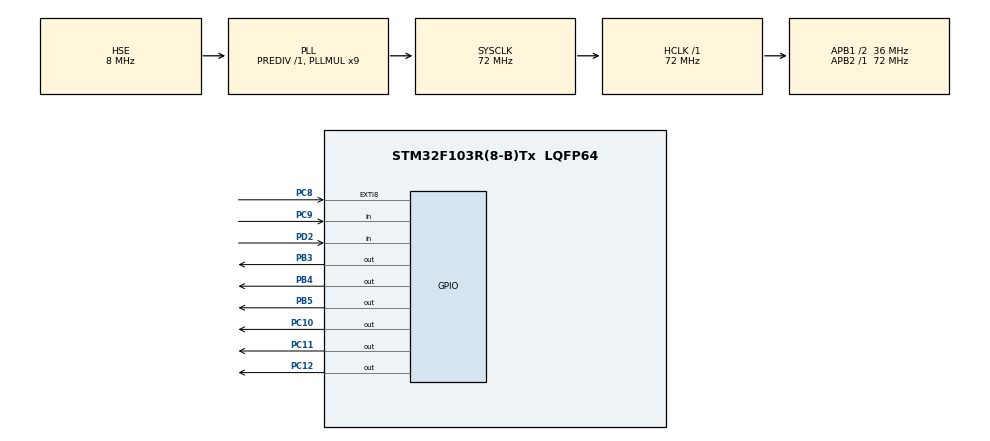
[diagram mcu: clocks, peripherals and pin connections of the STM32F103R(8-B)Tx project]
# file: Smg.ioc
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Mcu.Family=STM32F1
Mcu.Name=STM32F103R(8-B)Tx
Mcu.Package=LQFP64
NVIC.EXTI9_5_IRQn=true\:0\:0\:false\:false\:true\:true\:true\:true
NVIC.PriorityGroup=NVIC_PRIORITYGROUP_4
NVIC.TIM1_BRK_IRQn=true\:0\:0\:false\:false\:true\:true\:true\:true
NVIC.TIM1_CC_IRQn=true\:0\:0\:false\:false\:true\:true\:true\:true
NVIC.TIM1_TRG_COM_IRQn=true\:0\:0\:false\:false\:true\:true\:true\:true
NVIC.TIM1_UP_IRQn=true\:0\:0\:false\:false\:true\:true\:true\:true
NVIC.TIM2_IRQn=true\:0\:0\:false\:false\:true\:true\:true\:true
PA13.Mode=Serial_Wire
PA13.Signal=SYS_JTMS-SWDIO
PA14.Mode=Serial_Wire
PA14.Signal=SYS_JTCK-SWCLK
PB3.Signal=GPIO_Output
PB4.Signal=GPIO_Output
PB5.Signal=GPIO_Output
PC10.Signal=GPIO_Output
PC11.Signal=GPIO_Output
PC12.Signal=GPIO_Output
PC8.GPIO_ModeDefaultEXTI=GPIO_MODE_IT_FALLING
PC8.GPIO_PuPd=GPIO_PULLUP
PC8.Signal=GPXTI8
PC9.GPIO_PuPd=GPIO_PULLUP
PC9.Signal=GPIO_Input
PD0-OSC_IN.Mode=HSE-External-Oscillator
PD0-OSC_IN.Signal=RCC_OSC_IN
PD1-OSC_OUT.Mode=HSE-External-Oscillator
PD1-OSC_OUT.Signal=RCC_OSC_OUT
PD2.GPIO_PuPd=GPIO_PULLUP
PD2.Signal=GPIO_Input
ProjectManager.HeapSize=0x200
ProjectManager.StackSize=0x400
ProjectManager.TargetToolchain=MDK-ARM V5.32
RCC.AHBFreq_Value=72000000
RCC.APB1CLKDivider=RCC_HCLK_DIV2
RCC.APB1Freq_Value=36000000
RCC.APB1TimFreq_Value=72000000
RCC.APB2Freq_Value=72000000
RCC.APB2TimFreq_Value=72000000
RCC.HCLKFreq_Value=72000000
RCC.PLLMUL=RCC_PLL_MUL9
RCC.PLLSourceVirtual=RCC_PLLSOURCE_HSE
RCC.SYSCLKFreq_VALUE=72000000
RCC.SYSCLKSource=RCC_SYSCLKSOURCE_PLLCLK
RCC.USBFreq_Value=72000000
TIM1.Period=5000-1
TIM1.Prescaler=7200-1
TIM2.Period=20-1
TIM2.Prescaler=7200-1
VP_TIM1_VS_ClockSourceINT.Mode=Internal
VP_TIM2_VS_ClockSourceINT.Mode=Internal
board=custom

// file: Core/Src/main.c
/* USER CODE BEGIN Header */
/**
  ******************************************************************************
  * @file           : main.c
  * @brief          : Main program body
  ******************************************************************************
  * @attention
  *
  * Copyright (c) 2023 STMicroelectronics.
  * All rights reserved.
  *
  * This software is licensed under terms that can be found in the LICENSE file
  * in the root directory of this software component.
  * If no LICENSE file comes with this software, it is provided AS-IS.
  *
  ******************************************************************************
  */
/* USER CODE END Header */
#include "main.h"
#include "tim.h"
#include "gpio.h"

/* USER CODE BEGIN Includes */
	#include "smg.h"

/* USER CODE END Includes */

/* USER CODE BEGIN PTD */
	int mood=1;
	extern int m;
	#define key1()  HAL_GPIO_ReadPin(GPIOC,GPIO_PIN_9 )
/* USER CODE END PTD */

/* USER CODE BEGIN PD */
void HAL_GPIO_EXTI_Callback(uint16_t GPIO_Pin){
	if(GPIO_Pin==GPIO_PIN_8){
		mood++;
		mood=mood%2;
	}
}
void key_detection_2() {
    uint16_t a = 0, b = 1, double_press_interval = 0;
    uint8_t key_pressed = 0;

    // 检测按键是否按下
    if (key1() == 0) {
        HAL_Delay(20); // 防抖
        if (key1()== 0) {
            key_pressed = 1; // 标记按键已按下
            while (key1()== 0) { // 检测按键是否持续按下
                a++;
                HAL_Delay(100);
            }

            // 检测是否是长按
            if (a > 10) {
				//长按执行程序区
				m--;
                key_pressed = 0; // 重置按键状态
            }
        }
    }

    // 如果是短按，检测是否有第二次按下（双击）
    if (key_pressed) {
        for (a = 0; a < 10; a++) {
            HAL_Delay(20);
            if (key1() == 0) {
                HAL_Delay(20);
                if (key1() == 0) {
                    double_press_interval = 0;
                    while (key1()== 0) { // 等待第二次按键释放
                        double_press_interval++;
                        HAL_Delay(100);
                    }
                    if (double_press_interval < 10) { // 检测双击
						//双击执行程序区
                        key_pressed = 0; // 重置按键状态
                        break;
                    }
                }
            }
        }

        // 如果不是双击，则是短按
        if (key_pressed) {
			m++;
            //短按执行程序区
        }
    }
}
/* USER CODE END PD */

void SystemClock_Config(void);

int main(void)
{

  /* MCU Configuration--------------------------------------------------------*/

  /* Reset of all peripherals, Initializes the Flash interface and the Systick. */
  HAL_Init();

  /* Configure the system clock */
  SystemClock_Config();

  /* Initialize all configured peripherals */
  MX_GPIO_Init();
  MX_TIM2_Init();
  MX_TIM1_Init();
  /* USER CODE BEGIN 2 */
  HAL_TIM_Base_Start_IT(&htim2);
  smg_start();
  HAL_Delay(500);
  /* USER CODE END 2 */

  /* Infinite loop */
  /* USER CODE BEGIN WHILE */

  while (1)
  {
	  switch(mood){
		  case 1:
			  HAL_TIM_Base_Start_IT(&htim1);
			  break;
		  case 0:
			  HAL_TIM_Base_Stop_IT(&htim1);
		      key_detection_2();
			  break;
	  }
	  smg_add();
    /* USER CODE END WHILE */

  }
}

void SystemClock_Config(void)
{
  RCC_OscInitTypeDef RCC_OscInitStruct = {0};
  RCC_ClkInitTypeDef RCC_ClkInitStruct = {0};

  /** Initializes the RCC Oscillators according to the specified parameters
  * in the RCC_OscInitTypeDef structure.
  */
  RCC_OscInitStruct.OscillatorType = RCC_OSCILLATORTYPE_HSE;
  RCC_OscInitStruct.HSEState = RCC_HSE_ON;
  RCC_OscInitStruct.HSEPredivValue = RCC_HSE_PREDIV_DIV1;
  RCC_OscInitStruct.HSIState = RCC_HSI_ON;
  RCC_OscInitStruct.PLL.PLLState = RCC_PLL_ON;
  RCC_OscInitStruct.PLL.PLLSource = RCC_PLLSOURCE_HSE;
  RCC_OscInitStruct.PLL.PLLMUL = RCC_PLL_MUL9;
  if (HAL_RCC_OscConfig(&RCC_OscInitStruct) != HAL_OK)
  {
    Error_Handler();
  }

  /** Initializes the CPU, AHB and APB buses clocks
  */
  RCC_ClkInitStruct.ClockType = RCC_CLOCKTYPE_HCLK|RCC_CLOCKTYPE_SYSCLK
                              |RCC_CLOCKTYPE_PCLK1|RCC_CLOCKTYPE_PCLK2;
  RCC_ClkInitStruct.SYSCLKSource = RCC_SYSCLKSOURCE_PLLCLK;
  RCC_ClkInitStruct.AHBCLKDivider = RCC_SYSCLK_DIV1;
  RCC_ClkInitStruct.APB1CLKDivider = RCC_HCLK_DIV2;
  RCC_ClkInitStruct.APB2CLKDivider = RCC_HCLK_DIV1;

  if (HAL_RCC_ClockConfig(&RCC_ClkInitStruct, FLASH_LATENCY_2) != HAL_OK)
  {
    Error_Handler();
  }
}

void Error_Handler(void)
{
  __disable_irq();
  while (1)
  {
  }
}
